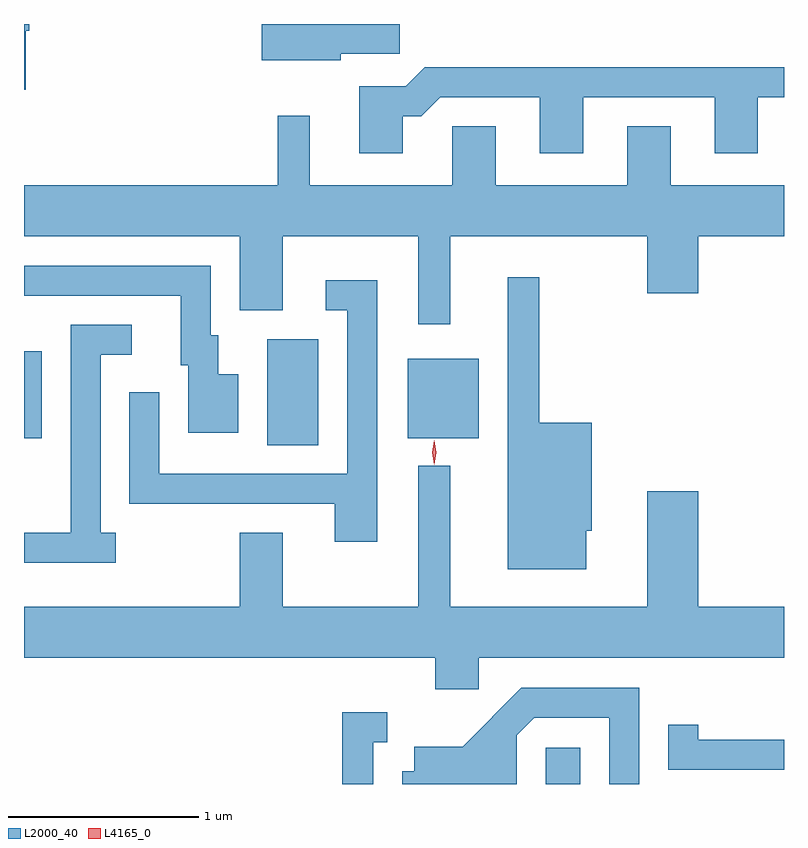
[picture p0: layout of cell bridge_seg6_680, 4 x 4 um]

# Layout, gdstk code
import gdstk
lib = gdstk.Library(unit=1e-6, precision=1e-09)
def R(c, l, rs):  # rectangles x0, y0, x1, y1
    for r in rs: c.add(gdstk.rectangle(r[:2], r[2:], *l))
def P(c, l, *ps):  # polygons
    for p in ps: c.add(gdstk.Polygon(p, *l))
L2000_40 = (2000, 40)
L4165_0 = (4165, 0)

bridge_seg6_680 = lib.new_cell('bridge_seg6_680')
R(bridge_seg6_680, L2000_40, [(234.521,1531.612,234.704,1531.804), (233.056,1533.396,233.324,1533.954), (231.776,1533.431,231.869,1533.889), (233.796,1533.431,234.169,1533.849)])
P(bridge_seg6_680, L2000_40, [(233.444,1535.456),(233.754,1535.456),(233.754,1535.612),(233.026,1535.612),(233.026,1535.421),(233.444,1535.421)],
  [(231.784,1535.576),(231.804,1535.576),(231.804,1535.612),(231.776,1535.612),(231.776,1535.266),(231.784,1535.266)],
  [(233.769,1535.126),(233.867,1535.126),(233.967,1535.226),(234.491,1535.226),(234.491,1534.931),(234.719,1534.931),(234.719,1535.226),(235.411,1535.226),(235.411,1534.931),(235.639,1534.931),(235.639,1535.226),(235.776,1535.226),(235.776,1535.384),(233.884,1535.384),(233.784,1535.284),(233.541,1535.284),(233.541,1534.931),(233.769,1534.931)],
  [(233.279,1535.128),(233.111,1535.128),(233.111,1534.764),(231.776,1534.764),(231.776,1534.496),(232.911,1534.496),(232.911,1534.106),(233.139,1534.106),(233.139,1534.496),(233.851,1534.496),(233.851,1534.033),(234.019,1534.033),(234.019,1534.496),(235.056,1534.496),(235.056,1534.196),(235.324,1534.196),(235.324,1534.496),(235.776,1534.496),(235.776,1534.764),(235.179,1534.764),(235.179,1535.074),(234.951,1535.074),(234.951,1534.764),(234.259,1534.764),(234.259,1535.074),(234.031,1535.074),(234.031,1534.764),(233.279,1534.764)],
  [(232.904,1533.769),(232.799,1533.769),(232.799,1533.974),(232.759,1533.974),(232.759,1534.339),(231.776,1534.339),(231.776,1534.181),(232.601,1534.181),(232.601,1533.816),(232.641,1533.816),(232.641,1533.461),(232.904,1533.461)],
  [(234.734,1532.946),(234.764,1532.946),(234.764,1533.514),(234.489,1533.514),(234.489,1534.278),(234.321,1534.278),(234.321,1532.741),(234.734,1532.741)],
  [(233.634,1534.264),(233.363,1534.264),(233.363,1534.106),(233.476,1534.106),(233.476,1533.244),(232.489,1533.244),(232.489,1533.673),(232.331,1533.673),(232.331,1533.086),(233.411,1533.086),(233.411,1532.886),(233.634,1532.886)],
  [(232.258,1532.934),(232.179,1532.934),(232.179,1533.871),(232.343,1533.871),(232.343,1534.029),(232.021,1534.029),(232.021,1532.934),(231.776,1532.934),(231.776,1532.776),(232.258,1532.776)],
  [(234.169,1532.276),(235.776,1532.276),(235.776,1532.544),(235.324,1532.544),(235.324,1533.154),(235.056,1533.154),(235.056,1532.544),(234.019,1532.544),(234.019,1533.288),(233.851,1533.288),(233.851,1532.544),(233.139,1532.544),(233.139,1532.934),(232.911,1532.934),(232.911,1532.544),(231.776,1532.544),(231.776,1532.276),(233.941,1532.276),(233.941,1532.111),(234.169,1532.111)],
  [(234.369,1531.869),(234.462,1531.961),(234.856,1531.961),(234.856,1531.612),(235.014,1531.612),(235.014,1532.119),(234.394,1532.119),(234.084,1531.809),(233.831,1531.809),(233.831,1531.679),(233.766,1531.679),(233.766,1531.612),(234.369,1531.612)],
  [(233.614,1531.831),(233.688,1531.831),(233.688,1531.989),(233.451,1531.989),(233.451,1531.612),(233.614,1531.612)],
  [(235.776,1531.844),(235.324,1531.844),(235.324,1531.923),(235.166,1531.923),(235.166,1531.686),(235.776,1531.686)])
P(bridge_seg6_680, L4165_0, [(233.935,1533.292),(233.934,1533.293),(233.925,1533.357),(233.934,1533.421),(233.934,1533.422),(233.935,1533.421),(233.945,1533.357),(233.936,1533.293)])

lib.write_gds('bridge_seg6_680.gds')
